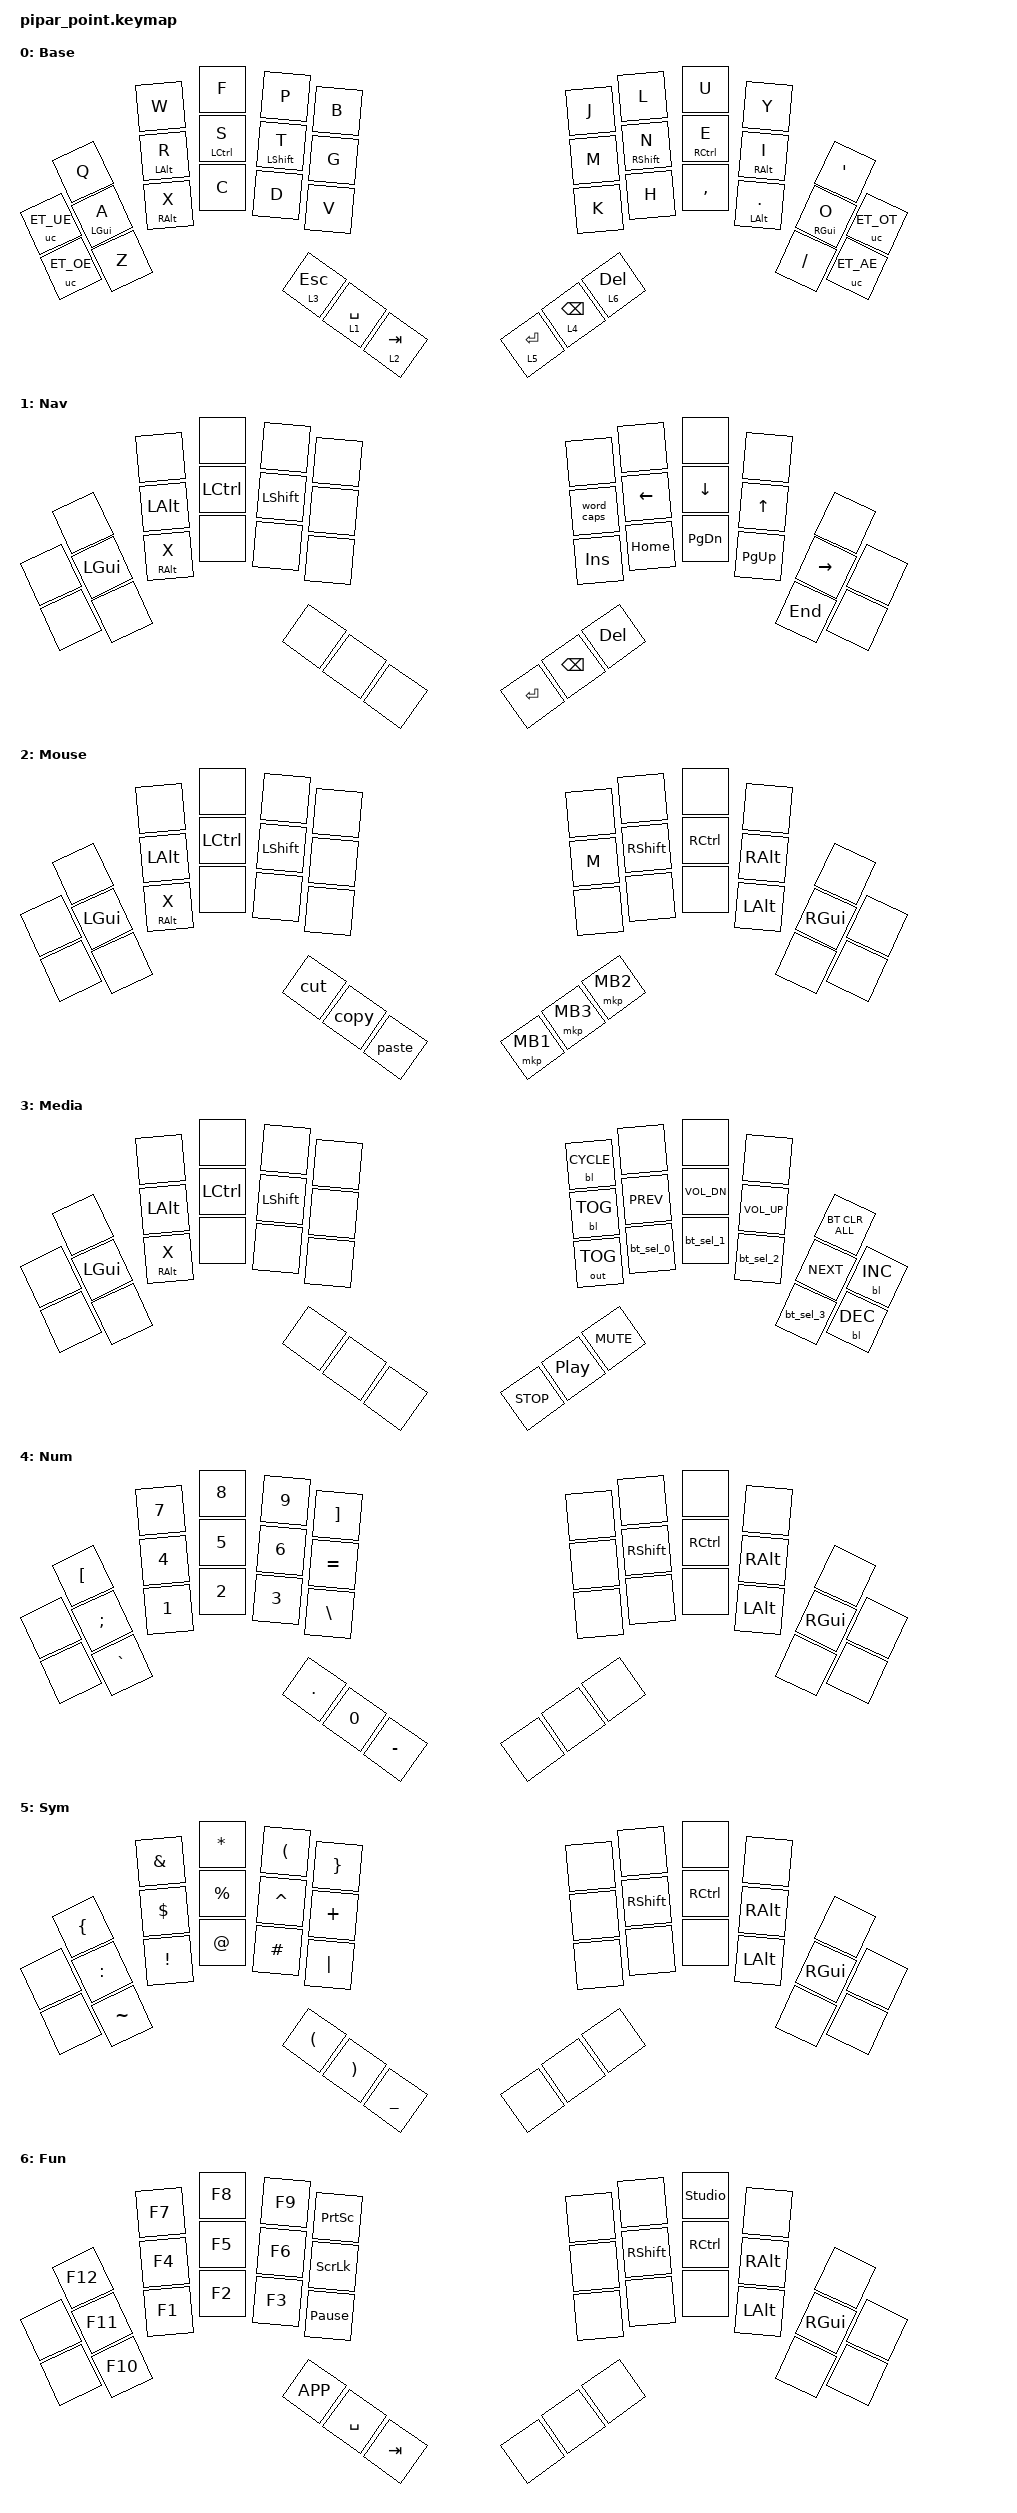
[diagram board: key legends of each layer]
#include <behaviors.dtsi>
#include <dt-bindings/zmk/keys.h>
#include <dt-bindings/zmk/outputs.h>
#include <dt-bindings/zmk/bt.h>
#include <dt-bindings/zmk/pointing.h>
#include <dt-bindings/zmk/backlight.h>
#include <behaviors/unicode.dtsi>
#include "keymap_helper.h"

#define HAS_MOUSE_KEYS
#define HAS_MOUSE_TP

#ifdef HAS_MOUSE_KEYS
  #include <dt-bindings/zmk/mouse.h>
  #include <behaviors/mouse_keys.dtsi>
#endif  // HAS_MOUSE_KEYS

#ifdef HAS_MOUSE_TP
  // We store the trackpoint settings in a separate file
  // to make organization a little easier.
  #include "include/mouse_tp.dtsi"
#endif  // HAS_MOUSE_TP

// Adjust layer keys based on enabled features.
//
// This prevents build errors when we build the firmware
// without the mouse keys PR or the TP module.
#ifdef HAS_MOUSE_KEYS
  #define U_THUMB_INNER &mo MOUSE_KEYS
#else
  #define U_THUMB_INNER &none
#endif  // HAS_MOUSE_KEYS

#ifdef HAS_MOUSE_TP
  #define U_TOG_TP_SET &tog MOUSE_TP_SET
#else
  #define U_TOG_TP_SET &none
#endif  // HAS_MOUSE_TP


&uc {
    default-mode = <UC_MODE_WIN_COMPOSE>;
    win-compose-key = <RALT>;
};

/ {

    macros {
        cut: cut {
            compatible = "zmk,behavior-macro";
            #binding-cells = <0>;
            bindings = <&kp LS(DEL)>;
        };

        copy: copy {
            compatible = "zmk,behavior-macro";
            #binding-cells = <0>;
            bindings = <&kp LC(INS)>;
        };

        paste: paste {
            compatible = "zmk,behavior-macro";
            #binding-cells = <0>;
            bindings = <&kp LS(INS)>;
        };

        macro_bt_sel_0: macro_bt_sel_0 {
            compatible = "zmk,behavior-macro";
            #binding-cells = <0>;
            wait-ms = <0>;
            bindings = <&bt BT_SEL 0 &bt BT_CLR>;
        };

        macro_bt_sel_1: macro_bt_sel_1 {
            compatible = "zmk,behavior-macro";
            #binding-cells = <0>;
            wait-ms = <0>;
            bindings = <&bt BT_SEL 1 &bt BT_CLR>;
        };

        macro_bt_sel_2: macro_bt_sel_2 {
            compatible = "zmk,behavior-macro";
            #binding-cells = <0>;
            wait-ms = <0>;
            bindings = <&bt BT_SEL 2 &bt BT_CLR>;
        };

        macro_bt_sel_3: macro_bt_sel_3 {
            compatible = "zmk,behavior-macro";
            #binding-cells = <0>;
            wait-ms = <0>;
            bindings = <&bt BT_SEL 3 &bt BT_CLR>;
        };
    };

    //    00 01 02 03 04       05 06 07 08 09
    // 10 11 12 13 14 15       16 17 18 19 20 21
    // 22 23 24 25 26 27       28 29 30 31 32 33
    //          34 35 36       37 38 39
    behaviors {
        hml: homerow_mods_left {
            compatible = "zmk,behavior-hold-tap";
            #binding-cells = <2>;
            flavor = "balanced";
            require-prior-idle-ms = <150>;
            tapping-term-ms = <280>;
            quick-tap-ms = <175>;
            bindings = <&kp>, <&kp>;
            hold-trigger-key-positions = <KEYS_RIGHT KEYS_THUMBS>; // List of keys on the right side of the keyboard
            hold-trigger-on-release;
        };

        hmr: homerow_mods_right {
            compatible = "zmk,behavior-hold-tap";
            #binding-cells = <2>;
            flavor = "balanced";
            require-prior-idle-ms = <150>;
            tapping-term-ms = <280>;
            quick-tap-ms = <175>;
            bindings = <&kp>, <&kp>;
            hold-trigger-key-positions = <KEYS_LEFT KEYS_THUMBS>; // List of keys on the left side of the keyboard
            hold-trigger-on-release;
        };

        bt_sel_0: bluetooth_select_0 {
            compatible = "zmk,behavior-mod-morph";
            #binding-cells = <0>;
            bindings = <&bt BT_SEL 0>, <&macro_bt_sel_0>;
            mods = <(MOD_LSFT|MOD_RSFT)>;
        };

        bt_sel_1: bluetooth_select_1 {
            compatible = "zmk,behavior-mod-morph";
            #binding-cells = <0>;
            bindings = <&bt BT_SEL 1>, <&macro_bt_sel_1>;
            mods = <(MOD_LSFT|MOD_RSFT)>;
        };

        bt_sel_2: bluetooth_select_2 {
            compatible = "zmk,behavior-mod-morph";
            #binding-cells = <0>;
            bindings = <&bt BT_SEL 2>, <&macro_bt_sel_2>;
            mods = <(MOD_LSFT|MOD_RSFT)>;
        };

        bt_sel_3: bluetooth_select_3 {
            compatible = "zmk,behavior-mod-morph";
            #binding-cells = <0>;
            bindings = <&bt BT_SEL 3>, <&macro_bt_sel_3>;
            mods = <(MOD_LSFT|MOD_RSFT)>;
        };

        word_caps: word_caps {
            compatible = "zmk,behavior-mod-morph";
            #binding-cells = <0>;
            bindings = <&caps_word>, <&kp CAPS>;
            mods = <(MOD_LSFT|MOD_RSFT)>;
        };

        

    };

    keymap {
        compatible = "zmk,keymap";

        default_layer {
            display-name = "Base";
            
            // -----------------------------------------------------------------------------------------
            // |     |  Q  |  W  |  F  |  P  |  B  |   |  J  |  L   |  U  |  Y  |  '  |     |
            // |  Õ  |  A  |  R  |  S  |  T  |  G  |   |  M  |  N   |  E  |  I  |  O  |  Ö  |
            // |  Ä  |  Z  |  X  |  C  |  D  |  V  |   |  K  |  H   |  ,  |  .  |  /  |  Ü  |
            //                   | ESC | SPC | TAB |   | ENT | BSCP | DEL |

            bindings = <
                  &kp Q             &kp W             &kp F             &kp P             &kp B             &kp J             &kp L             &kp U             &kp Y            &kp SQT
&uc ET_UE         &hml LGUI A       &hml LALT R       &hml LCTRL S      &hml LSHFT T      &kp G             &kp M             &hmr RSHFT N      &hmr RCTRL E      &hmr RALT I      &hmr RGUI O      &uc ET_OT
&uc ET_OE         &kp Z             &hml RALT X       &kp C             &kp D             &kp V             &kp K             &kp H             &kp COMMA         &hmr LALT DOT    &kp SLASH        &uc ET_AE
                                                      &lt 3 ESC         &lt 1 SPACE       &lt 2 TAB         &lt 5 RET         &lt 4 BSPC        &lt 6 DEL
            >;
        };

        navigation {
            display-name = "Nav";

            bindings = <
                  &none             &none             &none             &none             &none             &none             &none             &none             &none            &none      
&none             &kp LGUI          &kp LALT          &kp LCTRL         &kp LSHFT         &none             &word_caps        &kp LEFT          &kp DOWN          &kp UP           &kp RIGHT        &none 
&none             &none             &hml RALT X       &none             &none             &none             &kp INSERT        &kp HOME          &kp PAGE_DOWN     &kp PAGE_UP      &kp END          &none 
                                                      &none             &none             &none             &kp RET           &kp BSPC          &kp DEL
            >;
        };

        mouse {
            display-name = "Mouse";

            bindings = <
                  &none             &none             &none             &none             &none             &none             &none             &none             &none             &none 
&none             &kp LGUI          &kp LALT          &kp LCTRL         &kp LSHFT         &none             &kp M             &kp RSHFT         &kp RCTRL         &kp RALT          &kp RGUI         &none 
&none             &none             &hml RALT X       &none             &none             &none             &none             &none             &none             &kp LALT          &none            &none 
                                                      &cut              &copy             &paste            &mkp MB1          &mkp MB3          &mkp MB2
            >;
        };

        media {
            display-name = "Media";

            bindings = <
                  &none             &none             &none             &none             &none             &bl BL_CYCLE      &none             &none             &none             &bt BT_CLR_ALL 
&none             &kp LGUI          &kp LALT          &kp LCTRL         &kp LSHFT         &none             &bl BL_TOG        &kp C_PREV        &kp C_VOL_DN      &kp C_VOL_UP      &kp C_NEXT       &bl BL_INC
&none             &none             &hml RALT X       &none             &none             &none             &out OUT_TOG      &bt_sel_0         &bt_sel_1         &bt_sel_2         &bt_sel_3        &bl BL_DEC
                                                      &none             &none             &none             &kp C_STOP        &kp C_PP          &kp C_MUTE
            >;
        };
        
        num {
            display-name = "Num";

            bindings = <
                  &kp LBKT          &kp N7            &kp N8            &kp N9            &kp RBKT          &none             &none             &none             &none             &none                    
&none             &kp SEMI          &kp N4            &kp N5            &kp N6            &kp EQUAL         &none             &kp RSHFT         &kp RCTRL         &kp RALT          &kp RGUI         &none 
&none             &kp GRAVE         &kp N1            &kp N2            &kp N3            &kp BSLH          &none             &none             &none             &kp LALT          &none            &none 
                                                      &kp DOT           &kp N0            &kp MINUS         &none             &none             &none
            >;
        };

        sym {
            display-name = "Sym";

            bindings = <
                  &kp LBRC          &kp AMPS          &kp ASTRK         &kp LPAR          &kp RBRC          &none             &none             &none             &none             &none                    
&none             &kp COLON         &kp DLLR          &kp PRCNT         &kp CARET         &kp PLUS          &none             &kp RSHFT         &kp RCTRL         &kp RALT          &kp RGUI         &none 
&none             &kp TILDE         &kp EXCL          &kp AT            &kp HASH          &kp PIPE          &none             &none             &none             &kp LALT          &none            &none 
                                                      &kp LPAR          &kp RPAR          &kp UNDER         &none             &none             &none
            >;
        };

        fun {
            display-name = "Fun";

            bindings = <
                  &kp F12           &kp F7            &kp F8            &kp F9            &kp PSCRN         &none             &none             &studio_unlock    &none             &none                    
&none             &kp F11           &kp F4            &kp F5            &kp F6            &kp SLCK          &none             &kp RSHFT         &kp RCTRL         &kp RALT          &kp RGUI         &none 
&none             &kp F10           &kp F1            &kp F2            &kp F3            &kp PAUSE_BREAK   &none             &none             &none             &kp LALT          &none            &none 
                                                      &kp K_APP         &kp SPACE         &kp TAB           &none             &none             &none
            >;
        };
    };
};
